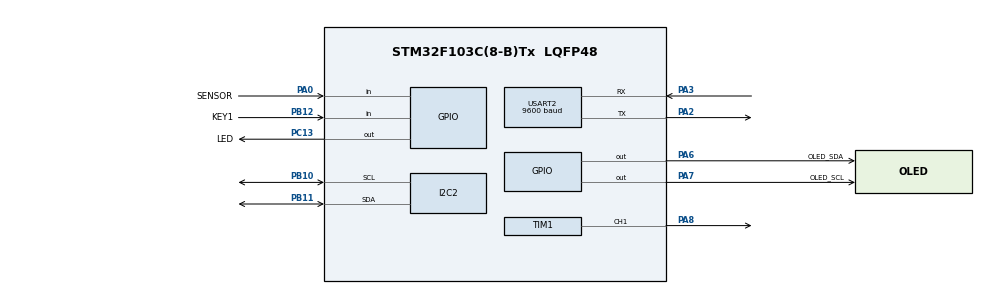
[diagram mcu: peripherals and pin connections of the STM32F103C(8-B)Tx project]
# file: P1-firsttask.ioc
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FREERTOS.Queues01=OLEDQueue,8,OLED_Msg_t,0,Dynamic,NULL,NULL
FREERTOS.Tasks01=BoxCtrlTask,25,128,StartBoxCtrlTask,Default,NULL,Dynamic,NULL,NULL;BluetoothTask,24,256,StartBluetoothTask,Default,NULL,Dynamic,NULL,NULL;OLEDTask,16,128,StartOledTask,Default,NULL,Dynamic,NULL,NULL
FREERTOS.configGENERATE_RUN_TIME_STATS=1
FREERTOS.configRECORD_STACK_HIGH_ADDRESS=1
FREERTOS.configTOTAL_HEAP_SIZE=10240
Mcu.Family=STM32F1
Mcu.Name=STM32F103C(8-B)Tx
Mcu.Package=LQFP48
NVIC.PriorityGroup=NVIC_PRIORITYGROUP_4
NVIC.TIM4_IRQn=true\:15\:0\:false\:false\:true\:false\:false\:true\:true
NVIC.TimeBase=TIM4_IRQn
NVIC.TimeBaseIP=TIM4
NVIC.USART2_IRQn=true\:5\:0\:false\:false\:true\:true\:true\:true\:true
PA0-WKUP.GPIO_Label=SENSOR
PA0-WKUP.Signal=GPIO_Input
PA13.Mode=Serial_Wire
PA13.Signal=SYS_JTMS-SWDIO
PA14.Mode=Serial_Wire
PA14.Signal=SYS_JTCK-SWCLK
PA2.Mode=Asynchronous
PA2.Signal=USART2_TX
PA3.Mode=Asynchronous
PA3.Signal=USART2_RX
PA6.GPIO_Label=OLED_SDA
PA6.Signal=GPIO_Output
PA7.GPIO_Label=OLED_SCL
PA7.Signal=GPIO_Output
PA8.Signal=S_TIM1_CH1
PB10.Mode=I2C
PB10.Signal=I2C2_SCL
PB11.Mode=I2C
PB11.Signal=I2C2_SDA
PB12.GPIO_Label=KEY1
PB12.GPIO_PuPd=GPIO_PULLUP
PB12.Signal=GPIO_Input
PC13-TAMPER-RTC.GPIO_Label=LED
PC13-TAMPER-RTC.PinState=GPIO_PIN_SET
PC13-TAMPER-RTC.Signal=GPIO_Output
ProjectManager.HeapSize=0x200
ProjectManager.StackSize=0x400
ProjectManager.TargetToolchain=CMake
RCC.APB1Freq_Value=8000000
RCC.APB2Freq_Value=8000000
SH.S_TIM1_CH1.0=TIM1_CH1,PWM Generation1 CH1
TIM1.Channel-PWM\ Generation1\ CH1=TIM_CHANNEL_1
TIM1.Prescaler=72-1
USART2.BaudRate=9600
USART2.VirtualMode=VM_ASYNC
VP_FREERTOS_VS_CMSIS_V2.Mode=CMSIS_V2
VP_SYS_VS_tim4.Mode=TIM4
VP_TIM1_VS_ClockSourceINT.Mode=Internal
board=custom

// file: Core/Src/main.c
/* USER CODE BEGIN Header */
/**
  ******************************************************************************
  * @file           : main.c
  * @brief          : Main program body
  ******************************************************************************
  * @attention
  *
  * Copyright (c) 2026 STMicroelectronics.
  * All rights reserved.
  *
  * This software is licensed under terms that can be found in the LICENSE file
  * in the root directory of this software component.
  * If no LICENSE file comes with this software, it is provided AS-IS.
  *
  ******************************************************************************
  */
/* USER CODE END Header */
#include "main.h"
#include "cmsis_os.h"
#include "i2c.h"
#include "tim.h"
#include "usart.h"
#include "gpio.h"

void SystemClock_Config(void);
void MX_FREERTOS_Init(void);

int main(void)
{

  /* MCU Configuration--------------------------------------------------------*/

  /* Reset of all peripherals, Initializes the Flash interface and the Systick. */
  HAL_Init();

  /* Configure the system clock */
  SystemClock_Config();

  /* Initialize all configured peripherals */
  MX_GPIO_Init();
  MX_I2C2_Init();
  MX_TIM1_Init();
  MX_USART2_UART_Init();
  /* USER CODE BEGIN 2 */
  uint8_t rx;
  /* USER CODE END 2 */

  /* Init scheduler */
  osKernelInitialize();  /* Call init function for freertos objects (in cmsis_os2.c) */
  MX_FREERTOS_Init();

  /* Start scheduler */
  osKernelStart();

  /* We should never get here as control is now taken by the scheduler */

  /* Infinite loop */
  while (1)
  {

    }
}

void SystemClock_Config(void)
{
  RCC_OscInitTypeDef RCC_OscInitStruct = {0};
  RCC_ClkInitTypeDef RCC_ClkInitStruct = {0};

  /** Initializes the RCC Oscillators according to the specified parameters
  * in the RCC_OscInitTypeDef structure.
  */
  RCC_OscInitStruct.OscillatorType = RCC_OSCILLATORTYPE_HSI;
  RCC_OscInitStruct.HSIState = RCC_HSI_ON;
  RCC_OscInitStruct.HSICalibrationValue = RCC_HSICALIBRATION_DEFAULT;
  RCC_OscInitStruct.PLL.PLLState = RCC_PLL_NONE;
  if (HAL_RCC_OscConfig(&RCC_OscInitStruct) != HAL_OK)
  {
    Error_Handler();
  }

  /** Initializes the CPU, AHB and APB buses clocks
  */
  RCC_ClkInitStruct.ClockType = RCC_CLOCKTYPE_HCLK|RCC_CLOCKTYPE_SYSCLK
                              |RCC_CLOCKTYPE_PCLK1|RCC_CLOCKTYPE_PCLK2;
  RCC_ClkInitStruct.SYSCLKSource = RCC_SYSCLKSOURCE_HSI;
  RCC_ClkInitStruct.AHBCLKDivider = RCC_SYSCLK_DIV1;
  RCC_ClkInitStruct.APB1CLKDivider = RCC_HCLK_DIV1;
  RCC_ClkInitStruct.APB2CLKDivider = RCC_HCLK_DIV1;

  if (HAL_RCC_ClockConfig(&RCC_ClkInitStruct, FLASH_LATENCY_0) != HAL_OK)
  {
    Error_Handler();
  }
}

void HAL_TIM_PeriodElapsedCallback(TIM_HandleTypeDef *htim)
{
  if (htim->Instance == TIM4)
  {
    HAL_IncTick();
  }
}

void Error_Handler(void)
{
  __disable_irq();
  while (1)
  {
  }
}

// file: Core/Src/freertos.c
/* USER CODE BEGIN Header */
/**
  ******************************************************************************
  * File Name          : freertos.c
  * Description        : Code for freertos applications
  ******************************************************************************
  * @attention
  *
  * Copyright (c) 2026 STMicroelectronics.
  * All rights reserved.
  *
  * This software is licensed under terms that can be found in the LICENSE file
  * in the root directory of this software component.
  * If no LICENSE file comes with this software, it is provided AS-IS.
  *
  ******************************************************************************
  */
/* USER CODE END Header */

#include "FreeRTOS.h"
#include "task.h"
#include "main.h"
#include "cmsis_os.h"

/* USER CODE BEGIN Includes */
#include <stdio.h>
#include <string.h>
#include "box_ctrl.h"
#include "LED.h"
#include "myUsart.h"
#include "OLED.h"
#include "protocol.h"
#include "sensor.h"
#include "servo.h"
#include "usart.h"
#include "OLED_Task.h"
/* USER CODE END Includes */

/* Definitions for BoxCtrlTask */
osThreadId_t BoxCtrlTaskHandle;
const osThreadAttr_t BoxCtrlTask_attributes = {
  .name = "BoxCtrlTask",
  .stack_size = 128 * 4,
  .priority = (osPriority_t) osPriorityNormal1,
};
/* Definitions for BluetoothTask */
osThreadId_t BluetoothTaskHandle;
const osThreadAttr_t BluetoothTask_attributes = {
  .name = "BluetoothTask",
  .stack_size = 256 * 4,
  .priority = (osPriority_t) osPriorityNormal,
};
/* Definitions for OLEDTask */
osThreadId_t OLEDTaskHandle;
const osThreadAttr_t OLEDTask_attributes = {
  .name = "OLEDTask",
  .stack_size = 128 * 4,
  .priority = (osPriority_t) osPriorityBelowNormal,
};
/* Definitions for OLEDQueue */
osMessageQueueId_t OLEDQueueHandle;
const osMessageQueueAttr_t OLEDQueue_attributes = {
  .name = "OLEDQueue"
};

void StartBoxCtrlTask(void *argument);
void StartBluetoothTask(void *argument);
void StartOledTask(void *argument);

void MX_FREERTOS_Init(void); /* (MISRA C 2004 rule 8.1) */

/* Hook prototypes */
void configureTimerForRunTimeStats(void);
unsigned long getRunTimeCounterValue(void);

/* USER CODE BEGIN 1 */
/* Functions needed when configGENERATE_RUN_TIME_STATS is on */
__weak void configureTimerForRunTimeStats(void)
{

}

__weak unsigned long getRunTimeCounterValue(void)
{
return 0;
}
/* USER CODE END 1 */

void MX_FREERTOS_Init(void) {

  /* Create the queue(s) */
  /* creation of OLEDQueue */
  OLEDQueueHandle = osMessageQueueNew (8, sizeof(OLED_Msg_t), &OLEDQueue_attributes);

  /* Create the thread(s) */
  /* creation of BoxCtrlTask */
  BoxCtrlTaskHandle = osThreadNew(StartBoxCtrlTask, NULL, &BoxCtrlTask_attributes);

  /* creation of BluetoothTask */
  BluetoothTaskHandle = osThreadNew(StartBluetoothTask, NULL, &BluetoothTask_attributes);

  /* creation of OLEDTask */
  OLEDTaskHandle = osThreadNew(StartOledTask, NULL, &OLEDTask_attributes);

}

void StartBoxCtrlTask(void *argument)
{
  /* USER CODE BEGIN StartBoxCtrlTask */
  BoxCtrl_Init();   // ⚠️ 上电初始化，只做一次
  OLED_Clear();
  /* Infinite loop */
  for(;;)
  {
    Box_Process();   // ⭐ 状态机核心
    osDelay(10);     // 10ms tick（100Hz）
  }
  /* USER CODE END StartBoxCtrlTask */
}

void StartBluetoothTask(void *argument)
{
  /* USER CODE BEGIN StartBluetoothTask */
    Bluetooth_Init();

  /* Infinite loop */
  for(;;)
  {
    if (cmd_ready)
    {
      Protocol_Parse(rx_buf);   // 直接交给协议层
      memset(rx_buf, 0, RX_BUF_SIZE); // 清空缓冲，防止下次干扰
      cmd_ready = 0;
    }
    osDelay(20);
  }
  /* USER CODE END StartBluetoothTask */
}

void StartOledTask(void *argument)
{
  /* USER CODE BEGIN StartOledTask */
  OLED_Init();   // 只初始化一次
  OLED_Msg_t msg;
  /* Infinite loop */
  for(;;)
  {
    // 阻塞等待显示请求
    if (osMessageQueueGet(OLEDQueueHandle, &msg, NULL, osWaitForever) == osOK)
    {

      switch (msg.type)
      {
      case OLED_SHOW_OPEN:
        OLED_Clear();
        OLED_ShowNum(1, 1, msg.box_id, 1);
        OLED_ShowChinese(16, 0, "号");
        OLED_ShowChinese(32, 0, "开");
        break;

      case OLED_SHOW_CLOSE:
        OLED_Clear();
        OLED_ShowNum(1, 1, msg.box_id, 1);
        OLED_ShowChinese(16, 0, "号");
        OLED_ShowChinese(32, 0, "关");
        break;

      case OLED_SHOW_TAKE:
        OLED_Clear();
        OLED_ShowNum(1, 1, msg.box_id, 1);
        OLED_ShowChinese(20, 0, "号");
        OLED_ShowChinese(36, 0, "请");
        OLED_ShowChinese(52, 0, "取");
        OLED_ShowChinese(68, 0, "药");
        break;

      case OLED_SHOW_TAKEN:
        OLED_Clear();
        OLED_ShowChinese(0, 0, "已");
        OLED_ShowChinese(17, 0, "取");
        OLED_ShowChinese(34, 0, "药");
        break;

      default:
        break;
      }
    }
  }
  /* USER CODE END StartOledTask */
}
